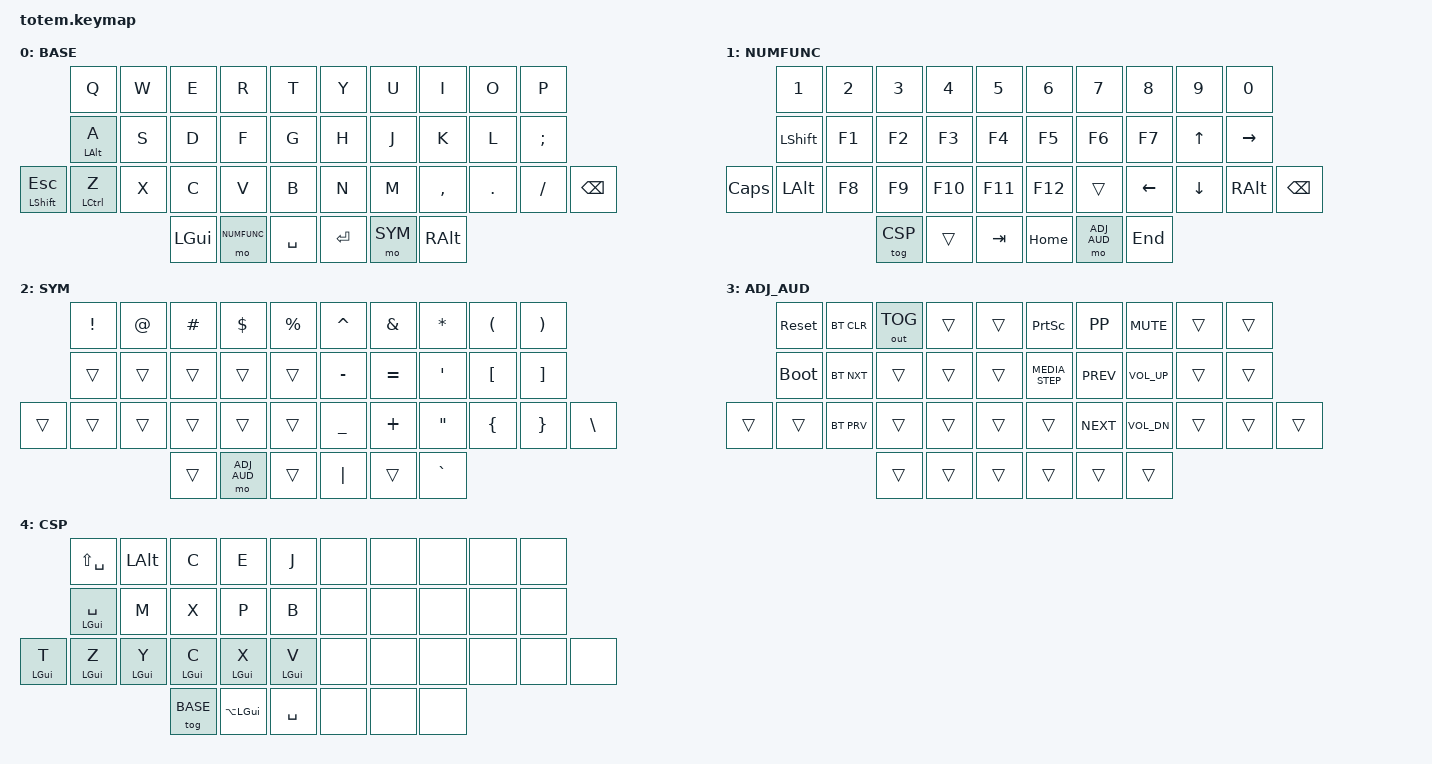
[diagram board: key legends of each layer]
//
//                                                        ▀▀▀▀▀     ▀▀▀▀▀          ▀▀█▀▀
//                                                        ▄▀▀▀▄  ▄  ▄▀▀▀▄  ▄  ▄▀▀▀▄  █  ▄▀▀▀▄
//                                                        █   █  █  █   █  █  █   █  █  █   █
//                                                         ▀▀▀   █   ▀▀▀   █   ▀▀▀   ▀   ▀▀▀
//                                                               █      ▄▄▄█▄▄▄    █   █  
//                                                               ▀      █  █  █     █▄█
//                                                             ▀▀▀▀▀    █  █  █      ▀
//                                                                      ▀  ▀  ▀
//
// ▄▄▄▄▄▄▄▄▄▄▄▄▄▄▄▄▄▄▄▄▄▄▄▄▄▄▄▄▄▄▄▄▄▄▄▄▄▄▄▄▄▄▄▄▄▄▄▄▄▄▄▄▄▄▄▄▄▄▄▄▄▄▄▄▄▄▄▄▄▄▄▄▄▄▄▄▄▄▄▄▄▄▄▄▄▄▄▄▄▄▄▄▄▄▄▄▄▄▄▄▄▄▄▄▄▄▄▄▄▄▄▄▄▄▄▄▄▄▄▄▄▄▄▄▄▄▄▄▄▄▄▄▄▄▄▄▄▄▄▄▄▄▄▄▄▄▄▄▄
       

#include <behaviors.dtsi>
#include <dt-bindings/zmk/bt.h>
#include <dt-bindings/zmk/keys.h>
#include <dt-bindings/zmk/outputs.h>
#include <dt-bindings/zmk/modifiers.h>

#define BASE 0
#define NUMFUNC  1
#define SYM  2
#define ADJ_AUD  3
#define CSP 4

&mt {
    quick-tap-ms = <100>;
    global-quick-tap;
    flavor = "tap-preferred";
    tapping-term-ms = <170>;
};

/ {
    combos {
        compatible = "zmk,combos";
    };

    macros {

    };

        keymap {
                compatible = "zmk,keymap";
// ▄▄▄▄▄▄▄▄▄▄▄▄▄▄▄▄▄▄▄▄▄▄▄▄▄▄▄▄▄▄▄▄▄▄▄▄▄▄▄▄▄▄▄▄▄▄▄▄▄▄▄▄▄▄▄▄▄▄▄▄▄▄▄▄▄▄▄▄▄▄▄▄▄▄▄▄▄▄▄▄▄▄▄▄▄▄▄▄▄▄▄▄▄▄▄▄▄▄▄▄▄▄▄▄▄▄▄▄▄▄▄▄▄▄▄▄▄▄▄▄▄▄▄▄▄▄▄▄▄▄▄▄▄▄▄▄▄▄▄▄▄▄▄▄▄▄▄▄▄

                base_layer {
// ┏━━━━━━━━━━━━━━━━━━━━━━━━━━━━━━━━━━━━━━━┓
label= "BASE"                              ;
// ┗━━━━━━━━━━━━━━━━━━━━━━━━━━━━━━━━━━━━━━━┛
//             ┏━━━━━━━━━━━┳━━━━━━━━━━━┳━━━━━━━━━━━┳━━━━━━━━━━━┳━━━━━━━━━━━┓   ┏━━━━━━━━━━━┳━━━━━━━━━━━┳━━━━━━━━━━━┳━━━━━━━━━━━┳━━━━━━━━━━━┓
//             ┃     Q     ┃     W     ┃     E     ┃     R     ┃     T     ┃   ┃     Y     ┃     U     ┃     I     ┃     O     ┃     P     ┃
//             ┣━━━━━━━━━━━╋━━━━━━━━━━━╋━━━━━━━━━━━╋━━━━━━━━━━━╋━━━━━━━━━━━┫   ┣━━━━━━━━━━━╋━━━━━━━━━━━╋━━━━━━━━━━━╋━━━━━━━━━━━╋━━━━━━━━━━━┫
//             ┃   A/ALT   ┃     S     ┃     D     ┃     F     ┃     G     ┃   ┃     H     ┃     J     ┃     K     ┃     L     ┃     ;:    ┃
// ┏━━━━━━━━━━━╋━━━━━━━━━━━╋━━━━━━━━━━━╋━━━━━━━━━━━╋━━━━━━━━━━━╋━━━━━━━━━━━┫   ┣━━━━━━━━━━━╋━━━━━━━━━━━╋━━━━━━━━━━━╋━━━━━━━━━━━╋━━━━━━━━━━━╋━━━━━━━━━━━┓
// ┃ ESC/SHIFT ┃   Z/CTRL  ┃     X     ┃     C     ┃     V     ┃     B     ┃   ┃     N     ┃     M     ┃     ,<    ┃     .>    ┃     /?    ┃   BKSP    ┃
// ┗━━━━━━━━━━━┻━━━━━━━━━━━┻━━━━━━━━━━━╋━━━━━━━━━━━╋━━━━━━━━━━━╋━━━━━━━━━━━┫   ┣━━━━━━━━━━━╋━━━━━━━━━━━╋━━━━━━━━━━━╋━━━━━━━━━━━┻━━━━━━━━━━━┻━━━━━━━━━━━┛
//                                     ┃    WIN    ┃    LAY1   ┃    SPC    ┃   ┃   ENTER   ┃    LAY2   ┃   RALT    ┃
//                                     ┗━━━━━━━━━━━┻━━━━━━━━━━━┻━━━━━━━━━━━┛   ┗━━━━━━━━━━━┻━━━━━━━━━━━┻━━━━━━━━━━━┛
 bindings = <
// ╷               ╷           ╷           ╷               ╷           ╷           ╷   ╷           ╷           ╷           ╷           ╷           ╷           ╷

                    &kp Q       &kp W       &kp E           &kp R       &kp T           &kp Y       &kp U       &kp I       &kp O       &kp P
                    &mt LALT A  &kp S       &kp D           &kp F       &kp G           &kp H       &kp J       &kp K       &kp L       &kp SEMI
    &mt LSHIFT ESC  &mt LCTRL Z &kp X       &kp C           &kp V       &kp B           &kp N       &kp M       &kp COMMA   &kp DOT     &kp FSLH     &kp BSPC
                                            &kp LGUI        &mo NUMFUNC &kp SPACE       &kp RET     &mo SYM     &kp RALT
                        >;
                };

// ▄▄▄▄▄▄▄▄▄▄▄▄▄▄▄▄▄▄▄▄▄▄▄▄▄▄▄▄▄▄▄▄▄▄▄▄▄▄▄▄▄▄▄▄▄▄▄▄▄▄▄▄▄▄▄▄▄▄▄▄▄▄▄▄▄▄▄▄▄▄▄▄▄▄▄▄▄▄▄▄▄▄▄▄▄▄▄▄▄▄▄▄▄▄▄▄▄▄▄▄▄▄▄▄▄▄▄▄▄▄▄▄▄▄▄▄▄▄▄▄▄▄▄▄▄▄▄▄▄▄▄▄▄▄▄▄▄▄▄▄▄▄▄▄▄▄▄▄▄


                nav_layer {
// ┏━━━━━━━━━━━━━━━━━━━━━━━━━━━━━━━━━━━━━━━┓
label= "NUMFUNC"                           ;
// ┗━━━━━━━━━━━━━━━━━━━━━━━━━━━━━━━━━━━━━━━┛
//             ┏━━━━━━━━━━━┳━━━━━━━━━━━┳━━━━━━━━━━━┳━━━━━━━━━━━┳━━━━━━━━━━━┓   ┏━━━━━━━━━━━┳━━━━━━━━━━━┳━━━━━━━━━━━┳━━━━━━━━━━━┳━━━━━━━━━━━┓
//             ┃     1     ┃     2     ┃     3     ┃     4     ┃     5     ┃   ┃     6     ┃     7     ┃     8     ┃     9     ┃     0     ┃
//             ┣━━━━━━━━━━━╋━━━━━━━━━━━╋━━━━━━━━━━━╋━━━━━━━━━━━╋━━━━━━━━━━━┫   ┣━━━━━━━━━━━╋━━━━━━━━━━━╋━━━━━━━━━━━╋━━━━━━━━━━━╋━━━━━━━━━━━┫
//             ┃   SHIFT   ┃     F1    ┃    F2     ┃    F3     ┃    F4     ┃   ┃     F5    ┃    F6     ┃    F7     ┃     UP    ┃   RIGHT   ┃
// ┏━━━━━━━━━━━╋━━━━━━━━━━━╋━━━━━━━━━━━╋━━━━━━━━━━━╋━━━━━━━━━━━╋━━━━━━━━━━━┫   ┣━━━━━━━━━━━╋━━━━━━━━━━━╋━━━━━━━━━━━╋━━━━━━━━━━━╋━━━━━━━━━━━╋━━━━━━━━━━━┓
// ┃    CAPS   ┃    LALT   ┃    F8     ┃    F9     ┃    F10    ┃    F11    ┃   ┃    F12    ┃           ┃    LEFT   ┃    DOWN   ┃    RALT   ┃   BSPC    ┃
// ┗━━━━━━━━━━━┻━━━━━━━━━━━┻━━━━━━━━━━━╋━━━━━━━━━━━╋━━━━━━━━━━━╋━━━━━━━━━━━┫   ┣━━━━━━━━━━━╋━━━━━━━━━━━╋━━━━━━━━━━━╋━━━━━━━━━━━┻━━━━━━━━━━━┻━━━━━━━━━━━┛
//                                     ┃    CSP    ┃           ┃    TAB    ┃   ┃    HOME   ┃    LAY3   ┃    END    ┃
//                                     ┗━━━━━━━━━━━┻━━━━━━━━━━━┻━━━━━━━━━━━┛   ┗━━━━━━━━━━━┻━━━━━━━━━━━┻━━━━━━━━━━━┛
 bindings = <
// ╷           ╷           ╷           ╷           ╷           ╷           ╷   ╷           ╷           ╷           ╷           ╷           ╷           ╷

                &kp N1      &kp N2      &kp N3      &kp N4      &kp N5          &kp N6      &kp N7      &kp N8      &kp N9      &kp N0
                &kp LSHFT   &kp F1      &kp F2      &kp F3      &kp F4          &kp F5      &kp F6      &kp F7      &kp UP      &kp RIGHT
    &kp CAPS    &kp LALT    &kp F8      &kp F9      &kp F10     &kp F11         &kp F12     &trans      &kp LEFT    &kp DOWN    &kp RALT    &kp BSPC      
                                        &tog CSP    &trans    &kp TAB           &kp HOME    &mo ADJ_AUD &kp END      
                        >;
                };

// ▄▄▄▄▄▄▄▄▄▄▄▄▄▄▄▄▄▄▄▄▄▄▄▄▄▄▄▄▄▄▄▄▄▄▄▄▄▄▄▄▄▄▄▄▄▄▄▄▄▄▄▄▄▄▄▄▄▄▄▄▄▄▄▄▄▄▄▄▄▄▄▄▄▄▄▄▄▄▄▄▄▄▄▄▄▄▄▄▄▄▄▄▄▄▄▄▄▄▄▄▄▄▄▄▄▄▄▄▄▄▄▄▄▄▄▄▄▄▄▄▄▄▄▄▄▄▄▄▄▄▄▄▄▄▄▄▄▄▄▄▄▄▄▄▄▄▄▄▄


                sim_layer {
// ┏━━━━━━━━━━━━━━━━━━━━━━━━━━━━━━━━━━━━━━━┓
label= "SYM"                               ;
// ┗━━━━━━━━━━━━━━━━━━━━━━━━━━━━━━━━━━━━━━━┛
//             ┏━━━━━━━━━━━┳━━━━━━━━━━━┳━━━━━━━━━━━┳━━━━━━━━━━━┳━━━━━━━━━━━┓   ┏━━━━━━━━━━━┳━━━━━━━━━━━┳━━━━━━━━━━━┳━━━━━━━━━━━┳━━━━━━━━━━━┓
//             ┃     !     ┃     @     ┃     #     ┃     $     ┃     %     ┃   ┃     ˆ     ┃     &     ┃     *     ┃     (     ┃     )     ┃
//             ┣━━━━━━━━━━━╋━━━━━━━━━━━╋━━━━━━━━━━━╋━━━━━━━━━━━╋━━━━━━━━━━━┫   ┣━━━━━━━━━━━╋━━━━━━━━━━━╋━━━━━━━━━━━╋━━━━━━━━━━━╋━━━━━━━━━━━┫
//             ┃           ┃           ┃           ┃           ┃           ┃   ┃     -     ┃     =     ┃     '     ┃     [     ┃     ]     ┃
// ┏━━━━━━━━━━━╋━━━━━━━━━━━╋━━━━━━━━━━━╋━━━━━━━━━━━╋━━━━━━━━━━━╋━━━━━━━━━━━┫   ┣━━━━━━━━━━━╋━━━━━━━━━━━╋━━━━━━━━━━━╋━━━━━━━━━━━╋━━━━━━━━━━━╋━━━━━━━━━━━┓
// ┃           ┃           ┃           ┃           ┃           ┃           ┃   ┃     _     ┃     +     ┃     "     ┃     {     ┃     }     ┃     \     ┃
// ┗━━━━━━━━━━━┻━━━━━━━━━━━┻━━━━━━━━━━━╋━━━━━━━━━━━╋━━━━━━━━━━━╋━━━━━━━━━━━┫   ┣━━━━━━━━━━━╋━━━━━━━━━━━╋━━━━━━━━━━━╋━━━━━━━━━━━┻━━━━━━━━━━━┻━━━━━━━━━━━┛
//                                     ┃           ┃    LAY3   ┃           ┃   ┃     |     ┃     `     ┃     ~     ┃
//                                     ┗━━━━━━━━━━━┻━━━━━━━━━━━┻━━━━━━━━━━━┛   ┗━━━━━━━━━━━┻━━━━━━━━━━━┻━━━━━━━━━━━┛
 bindings = <
// ╷           ╷           ╷           ╷           ╷           ╷           ╷   ╷             ╷           ╷           ╷           ╷           ╷           ╷

                &kp EXCL    &kp AT      &kp HASH    &kp DLLR    &kp PRCNT       &kp CARET     &kp AMPS    &kp ASTRK   &kp LPAR    &kp RPAR       
                &trans      &trans      &trans      &trans      &trans          &kp MINUS     &kp EQUAL   &kp APOS    &kp LBKT    &kp RBKT 
    &trans      &trans      &trans      &trans      &trans      &trans          &kp UNDER     &kp PLUS    &kp DQT     &kp LBRC    &kp RBRC    &kp BSLH         
                                        &trans      &mo ADJ_AUD &trans          &kp PIPE      &trans      &kp GRAVE      
                        >;
                };

// ▄▄▄▄▄▄▄▄▄▄▄▄▄▄▄▄▄▄▄▄▄▄▄▄▄▄▄▄▄▄▄▄▄▄▄▄▄▄▄▄▄▄▄▄▄▄▄▄▄▄▄▄▄▄▄▄▄▄▄▄▄▄▄▄▄▄▄▄▄▄▄▄▄▄▄▄▄▄▄▄▄▄▄▄▄▄▄▄▄▄▄▄▄▄▄▄▄▄▄▄▄▄▄▄▄▄▄▄▄▄▄▄▄▄▄▄▄▄▄▄▄▄▄▄▄▄▄▄▄▄▄▄▄▄▄▄▄▄▄▄▄▄▄▄▄▄▄▄▄


                adjust_layer {
// ┏━━━━━━━━━━━━━━━━━━━━━━━━━━━━━━━━━━━━━━━┓
label= "ADJ_AUD"                           ;
// ┗━━━━━━━━━━━━━━━━━━━━━━━━━━━━━━━━━━━━━━━┛
//             ┏━━━━━━━━━━━┳━━━━━━━━━━━┳━━━━━━━━━━━┳━━━━━━━━━━━┳━━━━━━━━━━━┓   ┏━━━━━━━━━━━┳━━━━━━━━━━━┳━━━━━━━━━━━┳━━━━━━━━━━━┳━━━━━━━━━━━┓
//             ┃   RESET   ┃ BT CLEAR  ┃  OUT TOG  ┃           ┃           ┃   ┃   PSCRN   ┃    K_PP   ┃   C_MUTE  ┃           ┃           ┃
//             ┣━━━━━━━━━━━╋━━━━━━━━━━━╋━━━━━━━━━━━╋━━━━━━━━━━━╋━━━━━━━━━━━┫   ┣━━━━━━━━━━━╋━━━━━━━━━━━╋━━━━━━━━━━━╋━━━━━━━━━━━╋━━━━━━━━━━━┫
//             ┃ BOOTLOAD  ┃ BT NEXT   ┃           ┃           ┃           ┃   ┃ MEDIASTEP ┃   C_PREV  ┃    VOL+   ┃           ┃           ┃
// ┏━━━━━━━━━━━╋━━━━━━━━━━━╋━━━━━━━━━━━╋━━━━━━━━━━━╋━━━━━━━━━━━╋━━━━━━━━━━━┫   ┣━━━━━━━━━━━╋━━━━━━━━━━━╋━━━━━━━━━━━╋━━━━━━━━━━━╋━━━━━━━━━━━╋━━━━━━━━━━━┓
// ┃           ┃           ┃ BT PREV   ┃           ┃           ┃           ┃   ┃           ┃   C_NEXT  ┃    VOL-   ┃           ┃           ┃           ┃
// ┗━━━━━━━━━━━┻━━━━━━━━━━━┻━━━━━━━━━━━╋━━━━━━━━━━━╋━━━━━━━━━━━╋━━━━━━━━━━━┫   ┣━━━━━━━━━━━╋━━━━━━━━━━━╋━━━━━━━━━━━╋━━━━━━━━━━━┻━━━━━━━━━━━┻━━━━━━━━━━━┛
//                                     ┃           ┃           ┃           ┃   ┃           ┃           ┃           ┃
//                                     ┗━━━━━━━━━━━┻━━━━━━━━━━━┻━━━━━━━━━━━┛   ┗━━━━━━━━━━━┻━━━━━━━━━━━┻━━━━━━━━━━━┛
 bindings = <
// ╷           ╷           ╷           ╷           ╷           ╷           ╷   ╷                 ╷           ╷           ╷           ╷           ╷           ╷

                &sys_reset  &bt BT_CLR &out OUT_TOG &trans      &trans          &kp PSCRN         &kp K_PP    &kp C_MUTE      &trans      &trans
                &bootloader &bt BT_NXT  &trans      &trans      &trans          &kp C_MEDIA_STEP  &kp C_PREV  &kp C_VOL_UP    &trans      &trans  
    &trans      &trans      &bt BT_PRV  &trans      &trans      &trans          &trans            &kp C_NEXT  &kp C_VOL_DN    &trans      &trans     &trans         
                                        &trans      &trans      &trans          &trans            &trans      &trans      
                        >;
                };

// ▄▄▄▄▄▄▄▄▄▄▄▄▄▄▄▄▄▄▄▄▄▄▄▄▄▄▄▄▄▄▄▄▄▄▄▄▄▄▄▄▄▄▄▄▄▄▄▄▄▄▄▄▄▄▄▄▄▄▄▄▄▄▄▄▄▄▄▄▄▄▄▄▄▄▄▄▄▄▄▄▄▄▄▄▄▄▄▄▄▄▄▄▄▄▄▄▄▄▄▄▄▄▄▄▄▄▄▄▄▄▄▄▄▄▄▄▄▄▄▄▄▄▄▄▄▄▄▄▄▄▄▄▄▄▄▄▄▄▄▄▄▄▄▄▄▄▄▄▄

                csp_layer {
// ┏━━━━━━━━━━━━━━━━━━━━━━━━━━━━━━━━━━━━━━━┓
label= "CSP"                             ;
// ┗━━━━━━━━━━━━━━━━━━━━━━━━━━━━━━━━━━━━━━━┛
//             ┏━━━━━━━━━━━┳━━━━━━━━━━━┳━━━━━━━━━━━┳━━━━━━━━━━━┳━━━━━━━━━━━┓   ┏━━━━━━━━━━━┳━━━━━━━━━━━┳━━━━━━━━━━━┳━━━━━━━━━━━┳━━━━━━━━━━━┓
//             ┃   ROTATE  ┃  COLPICK  ┃   SUBCOL  ┃   ERASER  ┃   BLEND   ┃   ┃           ┃           ┃           ┃           ┃           ┃
//             ┣━━━━━━━━━━━╋━━━━━━━━━━━╋━━━━━━━━━━━╋━━━━━━━━━━━╋━━━━━━━━━━━┫   ┣━━━━━━━━━━━╋━━━━━━━━━━━╋━━━━━━━━━━━╋━━━━━━━━━━━╋━━━━━━━━━━━┫
//             ┃    ZOOM   ┃   SELECT  ┃  TRANSCOL ┃    PEN    ┃   BRUSH   ┃   ┃           ┃           ┃           ┃           ┃           ┃
// ┏━━━━━━━━━━━╋━━━━━━━━━━━╋━━━━━━━━━━━╋━━━━━━━━━━━╋━━━━━━━━━━━╋━━━━━━━━━━━┫   ┣━━━━━━━━━━━╋━━━━━━━━━━━╋━━━━━━━━━━━╋━━━━━━━━━━━╋━━━━━━━━━━━╋━━━━━━━━━━━┓
// ┃ TRANSFORM ┃    UNDO   ┃   REDO    ┃    COPY   ┃    CUT    ┃   PASTE   ┃   ┃           ┃           ┃           ┃           ┃           ┃           ┃
// ┗━━━━━━━━━━━┻━━━━━━━━━━━┻━━━━━━━━━━━╋━━━━━━━━━━━╋━━━━━━━━━━━╋━━━━━━━━━━━┫   ┣━━━━━━━━━━━╋━━━━━━━━━━━╋━━━━━━━━━━━╋━━━━━━━━━━━┻━━━━━━━━━━━┻━━━━━━━━━━━┛
//                                     ┃   BASE    ┃   BSIZE   ┃   MOVE    ┃   ┃           ┃           ┃           ┃
//                                     ┗━━━━━━━━━━━┻━━━━━━━━━━━┻━━━━━━━━━━━┛   ┗━━━━━━━━━━━┻━━━━━━━━━━━┻━━━━━━━━━━━┛
 bindings = <
// ╷           ╷               ╷           ╷              ╷            ╷           ╷   ╷           ╷           ╷           ╷           ╷           ╷           ╷

                &kp LS(SPACE)   &kp LALT    &kp C         &kp E        &kp J           &none       &none       &none       &none       &none
                &mt LGUI SPACE  &kp M       &kp X         &kp P        &kp B           &none       &none       &none       &none       &none
    &mt LGUI T  &mt LGUI Z      &mt LGUI Y  &mt LGUI C    &mt LGUI X   &mt LGUI V      &none       &none       &none       &none       &none       &none        
                                            &tog BASE     &kp LA(LGUI) &kp SPACE       &none       &none       &none    
                        >;
                };
        };
};
